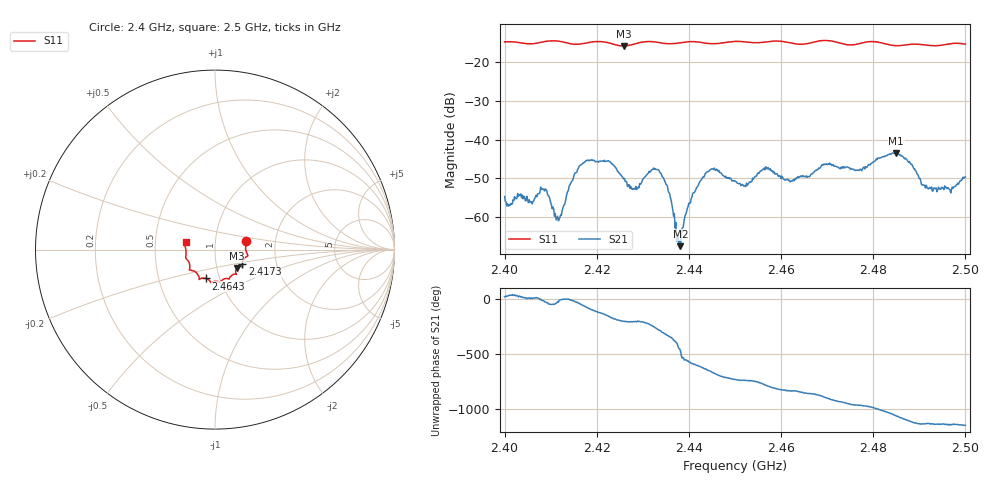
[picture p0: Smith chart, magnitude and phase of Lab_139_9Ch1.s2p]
# Hz S RI R 50
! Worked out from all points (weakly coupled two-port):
!   601 points, 2.4 GHz to 2.5 GHz, reference 50 ohm
!   highest |S21| = -43.45 dB at 2.485 GHz (marker M1); lowest = -67.4 dB at 2.4382 GHz (marker M2)
!   lowest |S11| = -15.9 dB at 2.4258 GHz (marker M3), VSWR 1.38, Z = 62.3 - j13.3 ohm
!   |S11| at or under -10 dB: start of sweep to end of sweep
!   S12 and S22 are empty: the file has one direction only
!   S11 on the Smith chart (normalised r, x): 2.4 GHz: 1.41, +0.14; 2.4173 GHz: 1.34, -0.23; 2.4643 GHz: 0.86, -0.28; 2.5 GHz: 0.72, +0.06
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2.4e9  0.1736 0.0495  0.00172 0.000682  0 0  0 0
2.408333e9  0.1793 -0.0237  0.00222 -0.000472  0 0  0 0
2.411667e9  0.1814 -0.0359  0.000797 -0.000421  0 0  0 0
2.416667e9  0.1531 -0.0743  0.00313 -0.00364  0 0  0 0
2.417333e9  0.1525 -0.0818  0.00229 -0.00461  0 0  0 0
2.422667e9  0.148 -0.0939  -0.00479 -0.00209  0 0  0 0
2.425833e9  0.1217 -0.1037  -0.00291 0.00111  0 0  0 0
2.428333e9  0.1151 -0.1263  -0.00211 0.000917  0 0  0 0
2.433333e9  0.113 -0.1368  0.000539 0.00406  0 0  0 0
2.4355e9  0.0982 -0.1403  0.00194 0.000997  0 0  0 0
2.4375e9  0.085 -0.1514  0.000378 -0.000453  0 0  0 0
2.438167e9  0.0824 -0.1554  -0.000154 -0.000396  0 0  0 0
2.4405e9  0.0787 -0.1642  -0.00123 0.00123  0 0  0 0
2.444e9  0.0635 -0.1608  0.00096 0.0037  0 0  0 0
2.45e9  0.0292 -0.1808  0.00289 -0.000536  0 0  0 0
2.456833e9  -0.0123 -0.18  0.00177 -0.00391  0 0  0 0
2.464333e9  -0.0498 -0.1607  -0.00198 -0.00275  0 0  0 0
2.466667e9  -0.0759 -0.1599  -0.00281 -0.00227  0 0  0 0
2.483333e9  -0.1405 -0.0902  0.00448 0.00462  0 0  0 0
2.485e9  -0.1444 -0.0723  0.0064 0.00207  0 0  0 0
2.4925e9  -0.1608 -0.0198  0.00122 -0.00198  0 0  0 0
2.5e9  -0.1635 0.0421  0.00116 -0.00311  0 0  0 0
